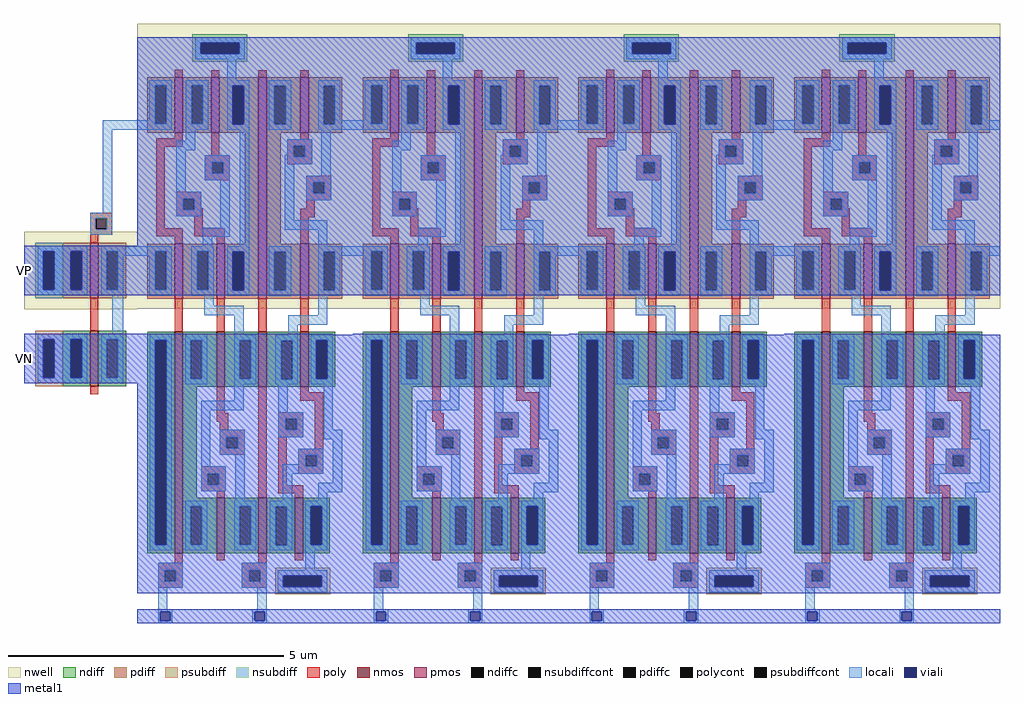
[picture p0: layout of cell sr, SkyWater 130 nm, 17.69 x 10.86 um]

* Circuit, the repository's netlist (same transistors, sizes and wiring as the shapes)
* SPICE3 file created from sr.ext - technology: sky130A

.subckt latch VP D Dbar VN CLK Q Qbar
X0 a_244_982# CLK VP VP sky130_fd_pr__pfet_01v8 ad=0.574 pd=3.32 as=0.608 ps=3.38 w=4.01 l=0.15
X1 a_n84_1280# a_n60_982# a_n60_60# VN sky130_fd_pr__nfet_01v8 ad=0.305 pd=1.61 as=0.574 ps=3.32 w=1 l=0.15
X2 a_n60_982# a_n84_1280# a_n60_60# VN sky130_fd_pr__nfet_01v8 ad=0.305 pd=1.61 as=0.574 ps=3.32 w=1 l=0.15
X3 Q CLK a_n84_1280# VN sky130_fd_pr__nfet_01v8 ad=0.255 pd=1.51 as=0.305 ps=1.61 w=1 l=0.15
X4 VP a_n84_1280# a_n60_982# VP sky130_fd_pr__pfet_01v8 ad=0.608 pd=3.38 as=0.305 ps=1.61 w=1 l=0.15
X5 VN Q Qbar VN sky130_fd_pr__nfet_01v8 ad=0.48 pd=2.96 as=0.305 ps=1.61 w=1 l=0.15
X6 VN Qbar Q VN sky130_fd_pr__nfet_01v8 ad=0.48 pd=2.96 as=0.255 ps=1.51 w=1 l=0.15
X7 a_n60_982# CLK Dbar VP sky130_fd_pr__pfet_01v8 ad=0.305 pd=1.61 as=0.5 ps=3 w=1 l=0.15
X8 a_n60_60# CLK VN VN sky130_fd_pr__nfet_01v8 ad=0.574 pd=3.32 as=2.01 ps=9.02 w=4.01 l=0.15
X9 VP a_n60_982# a_n84_1280# VP sky130_fd_pr__pfet_01v8 ad=0.608 pd=3.38 as=0.255 ps=1.51 w=1 l=0.15
X10 Q Qbar a_244_982# VP sky130_fd_pr__pfet_01v8 ad=0.61 pd=3.22 as=0.574 ps=3.32 w=1 l=0.15
X11 Qbar CLK a_n60_982# VN sky130_fd_pr__nfet_01v8 ad=0.305 pd=1.61 as=0.305 ps=1.61 w=1 l=0.15
X12 Qbar Q a_244_982# VP sky130_fd_pr__pfet_01v8 ad=0.61 pd=3.22 as=0.574 ps=3.32 w=1 l=0.15
X13 a_n84_1280# CLK D VP sky130_fd_pr__pfet_01v8 ad=0.255 pd=1.51 as=0.5 ps=3 w=1 l=0.15
.ends

Xlatch_0 VP latch_0/D latch_0/Dbar VN latch_3/CLK latch_1/D latch_1/Dbar latch
Xlatch_1 VP latch_1/D latch_1/Dbar VN latch_3/CLK latch_2/D latch_2/Dbar latch
Xlatch_2 VP latch_2/D latch_2/Dbar VN latch_3/CLK latch_3/D latch_3/Dbar latch
Xlatch_3 VP latch_3/D latch_3/Dbar VN latch_3/CLK latch_3/Q latch_3/Qbar latch
X0 latch_0/Dbar latch_0/D VP VP sky130_fd_pr__pfet_01v8 ad=0.5 pd=3 as=0.5 ps=3 w=1 l=0.15
X1 latch_0/Dbar latch_0/D VN VN sky130_fd_pr__nfet_01v8 ad=0.5 pd=3 as=0.5 ps=3 w=1 l=0.15

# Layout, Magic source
magic
tech sky130A
magscale 1 2
<< nwell >>
rect -414 1142 -4 1422
<< nmos >>
rect -174 863 -144 1063
<< pmos >>
rect -174 1182 -144 1382
<< ndiff >>
rect -274 1033 -174 1063
rect -274 893 -244 1033
rect -204 893 -174 1033
rect -274 863 -174 893
rect -144 1033 -44 1063
rect -144 893 -114 1033
rect -74 893 -44 1033
rect -144 863 -44 893
<< pdiff >>
rect -274 1352 -174 1382
rect -274 1212 -244 1352
rect -204 1212 -174 1352
rect -274 1182 -174 1212
rect -144 1352 -44 1382
rect -144 1212 -114 1352
rect -74 1212 -44 1352
rect -144 1182 -44 1212
<< ndiffc >>
rect -244 893 -204 1033
rect -114 893 -74 1033
<< pdiffc >>
rect -244 1212 -204 1352
rect -114 1212 -74 1352
<< psubdiff >>
rect -374 1033 -274 1063
rect -374 893 -344 1033
rect -304 893 -274 1033
rect -374 863 -274 893
<< nsubdiff >>
rect -374 1352 -274 1382
rect -374 1212 -344 1352
rect -304 1212 -274 1352
rect -374 1182 -274 1212
<< psubdiffcont >>
rect -344 893 -304 1033
<< nsubdiffcont >>
rect -344 1212 -304 1352
<< poly >>
rect -174 1472 -94 1492
rect -174 1432 -154 1472
rect -114 1432 -94 1472
rect -174 1412 -94 1432
rect -174 1382 -144 1412
rect -174 1063 -144 1182
rect -174 833 -144 863
<< polycont >>
rect -154 1432 -114 1472
<< locali >>
rect -128 1792 -4 1826
rect -128 1492 -94 1792
rect -174 1472 -94 1492
rect -174 1432 -154 1472
rect -114 1432 -94 1472
rect -174 1412 -94 1432
rect -364 1352 -184 1372
rect -364 1212 -344 1352
rect -304 1212 -244 1352
rect -204 1212 -184 1352
rect -364 1192 -184 1212
rect -134 1370 -54 1372
rect -134 1352 -2 1370
rect -134 1212 -114 1352
rect -74 1336 -2 1352
rect -74 1212 -54 1336
rect -134 1192 -54 1212
rect -94 1053 -54 1192
rect -364 1033 -184 1053
rect -364 893 -344 1033
rect -304 893 -244 1033
rect -204 893 -184 1033
rect -364 873 -184 893
rect -134 1033 -54 1053
rect -134 893 -114 1033
rect -74 893 -54 1033
rect -134 873 -54 893
<< viali >>
rect -344 1212 -304 1352
rect -244 1212 -204 1352
rect -344 893 -304 1033
rect -244 893 -204 1033
<< metal1 >>
rect -414 1352 -4 1372
rect -414 1212 -344 1352
rect -304 1212 -244 1352
rect -204 1212 -4 1352
rect -414 1192 -4 1212
rect -414 1033 -4 1053
rect -414 893 -344 1033
rect -304 893 -244 1033
rect -204 893 -4 1033
rect -414 873 -4 893
use latch  latch_0
transform 1 0 222 0 1 198
box -226 -194 556 1978
use latch  latch_1
transform 1 0 1004 0 1 198
box -226 -194 556 1978
use latch  latch_2
transform 1 0 1786 0 1 198
box -226 -194 556 1978
use latch  latch_3
transform 1 0 2568 0 1 198
box -226 -194 556 1978
<< labels >>
rlabel metal1 -414 1282 -414 1282 7 VP
port 3 w
rlabel metal1 -414 963 -414 963 7 VN
port 4 w
<< end >>

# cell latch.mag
magic
tech sky130A
magscale 1 2
<< nwell >>
rect -226 946 556 1978
<< nmos >>
rect -90 60 -60 862
rect 62 662 92 862
rect 214 662 244 862
rect 366 662 396 862
rect 62 60 92 260
rect 214 60 244 260
rect 346 60 376 260
<< pmos >>
rect -90 1584 -60 1784
rect 42 1584 72 1784
rect -90 982 -60 1182
rect 62 982 92 1182
rect 214 982 244 1784
rect 366 1584 396 1784
rect 366 982 396 1182
<< ndiff >>
rect -190 832 -90 862
rect -190 90 -160 832
rect -120 90 -90 832
rect -190 60 -90 90
rect -60 832 62 862
rect -60 692 -32 832
rect 8 692 62 832
rect -60 662 62 692
rect 92 832 214 862
rect 92 692 146 832
rect 186 692 214 832
rect 92 662 214 692
rect 244 830 366 862
rect 244 690 296 830
rect 336 690 366 830
rect 244 662 366 690
rect 396 832 492 862
rect 396 692 424 832
rect 464 692 492 832
rect 396 662 492 692
rect -60 260 -10 662
rect -60 230 62 260
rect -60 90 -32 230
rect 8 90 62 230
rect -60 60 62 90
rect 92 230 214 260
rect 92 90 146 230
rect 186 90 214 230
rect 92 60 214 90
rect 244 228 346 260
rect 244 88 276 228
rect 316 88 346 228
rect 244 60 346 88
rect 376 230 472 260
rect 376 90 404 230
rect 444 90 472 230
rect 376 60 472 90
<< pdiff >>
rect -190 1756 -90 1784
rect -190 1616 -160 1756
rect -120 1616 -90 1756
rect -190 1584 -90 1616
rect -60 1756 42 1784
rect -60 1616 -28 1756
rect 12 1616 42 1756
rect -60 1584 42 1616
rect 72 1754 214 1784
rect 72 1614 120 1754
rect 160 1614 214 1754
rect 72 1584 214 1614
rect 164 1182 214 1584
rect -190 1154 -90 1182
rect -190 1014 -160 1154
rect -120 1014 -90 1154
rect -190 982 -90 1014
rect -60 1154 62 1182
rect -60 1014 -8 1154
rect 32 1014 62 1154
rect -60 982 62 1014
rect 92 1152 214 1182
rect 92 1012 120 1152
rect 160 1012 214 1152
rect 92 982 214 1012
rect 244 1754 366 1784
rect 244 1614 272 1754
rect 312 1614 366 1754
rect 244 1584 366 1614
rect 396 1754 518 1784
rect 396 1614 450 1754
rect 490 1614 518 1754
rect 396 1584 518 1614
rect 244 1182 294 1584
rect 244 1152 366 1182
rect 244 1012 272 1152
rect 312 1012 366 1152
rect 244 982 366 1012
rect 396 1152 518 1182
rect 396 1012 450 1152
rect 490 1012 518 1152
rect 396 982 518 1012
<< ndiffc >>
rect -160 90 -120 832
rect -32 692 8 832
rect 146 692 186 832
rect 296 690 336 830
rect 424 692 464 832
rect -32 90 8 230
rect 146 90 186 230
rect 276 88 316 228
rect 404 90 444 230
<< pdiffc >>
rect -160 1616 -120 1756
rect -28 1616 12 1756
rect 120 1614 160 1754
rect -160 1014 -120 1154
rect -8 1014 32 1154
rect 120 1012 160 1152
rect 272 1614 312 1754
rect 450 1614 490 1754
rect 272 1012 312 1152
rect 450 1012 490 1152
<< psubdiff >>
rect 274 -22 474 6
rect 274 -62 304 -22
rect 444 -62 474 -22
rect 274 -90 474 -62
<< nsubdiff >>
rect -26 1910 174 1940
rect -26 1870 4 1910
rect 144 1870 174 1910
rect -26 1840 174 1870
<< psubdiffcont >>
rect 304 -62 444 -22
<< nsubdiffcont >>
rect 4 1870 144 1910
<< poly >>
rect -90 1784 -60 1812
rect 42 1784 72 1810
rect 214 1784 244 1810
rect 366 1784 396 1810
rect -90 1564 -60 1584
rect -156 1532 -60 1564
rect -156 1238 -126 1532
rect 42 1502 72 1584
rect 20 1476 110 1502
rect 20 1436 46 1476
rect 86 1436 110 1476
rect 20 1412 110 1436
rect -84 1344 6 1370
rect -84 1304 -58 1344
rect -18 1310 6 1344
rect -18 1304 12 1310
rect -84 1280 12 1304
rect -18 1238 12 1280
rect -156 1208 -60 1238
rect -18 1208 92 1238
rect -90 1182 -60 1208
rect 62 1182 92 1208
rect 366 1560 396 1584
rect 318 1536 408 1560
rect 318 1496 342 1536
rect 382 1496 408 1536
rect 318 1470 408 1496
rect 388 1404 478 1428
rect 388 1364 412 1404
rect 452 1364 478 1404
rect 388 1338 478 1364
rect 388 1308 418 1338
rect 366 1278 418 1308
rect 366 1182 396 1278
rect -90 862 -60 982
rect 62 862 92 982
rect 214 862 244 982
rect 366 862 396 982
rect 62 566 92 662
rect 62 536 104 566
rect 74 506 104 536
rect 74 480 164 506
rect 74 440 98 480
rect 138 440 164 480
rect 74 416 164 440
rect 6 348 96 374
rect 6 308 30 348
rect 70 308 96 348
rect 6 284 96 308
rect 62 260 92 284
rect 214 260 244 662
rect 366 642 396 662
rect 366 612 448 642
rect 286 546 376 570
rect 286 506 312 546
rect 352 506 376 546
rect 286 480 376 506
rect 286 306 316 480
rect 418 438 448 612
rect 359 414 449 438
rect 359 374 385 414
rect 425 374 449 414
rect 359 348 449 374
rect 286 276 376 306
rect 346 260 376 276
rect -90 24 -60 60
rect 62 34 92 60
rect 214 24 244 60
rect 346 34 376 60
rect -150 -2 -60 24
rect -150 -42 -126 -2
rect -86 -42 -60 -2
rect -150 -66 -60 -42
rect 154 -2 244 24
rect 154 -42 180 -2
rect 220 -42 244 -2
rect 154 -66 244 -42
<< polycont >>
rect 46 1436 86 1476
rect -58 1304 -18 1344
rect 342 1496 382 1536
rect 412 1364 452 1404
rect 98 440 138 480
rect 30 308 70 348
rect 312 506 352 546
rect 385 374 425 414
rect -126 -42 -86 -2
rect 180 -42 220 -2
<< locali >>
rect -16 1910 164 1930
rect -16 1870 4 1910
rect 144 1870 164 1910
rect -16 1850 164 1870
rect 100 1774 134 1850
rect -182 1756 -100 1774
rect -182 1628 -160 1756
rect -226 1616 -160 1628
rect -120 1616 -100 1756
rect -226 1594 -100 1616
rect -50 1756 32 1774
rect -50 1616 -28 1756
rect 12 1616 32 1756
rect -50 1594 32 1616
rect 100 1754 180 1774
rect 100 1614 120 1754
rect 160 1614 180 1754
rect 100 1594 180 1614
rect 252 1754 332 1774
rect 252 1614 272 1754
rect 312 1614 332 1754
rect 252 1594 332 1614
rect 430 1754 510 1774
rect 430 1614 450 1754
rect 490 1628 510 1754
rect 490 1614 556 1628
rect 430 1594 556 1614
rect -50 1554 -16 1594
rect -84 1520 -16 1554
rect -84 1370 -50 1520
rect 20 1476 110 1502
rect 20 1436 46 1476
rect 86 1436 110 1476
rect 20 1412 110 1436
rect -84 1344 6 1370
rect -84 1304 -58 1344
rect -18 1304 6 1344
rect -84 1280 6 1304
rect 76 1240 110 1412
rect 12 1206 110 1240
rect 12 1172 46 1206
rect 146 1172 180 1594
rect 318 1536 408 1560
rect 318 1504 342 1536
rect 310 1496 342 1504
rect 382 1496 408 1536
rect 310 1470 408 1496
rect 310 1266 344 1470
rect 442 1428 476 1594
rect 388 1404 478 1428
rect 388 1364 412 1404
rect 452 1364 478 1404
rect 388 1338 478 1364
rect 310 1232 464 1266
rect 430 1172 464 1232
rect -226 1154 -100 1172
rect -226 1138 -160 1154
rect -182 1014 -160 1138
rect -120 1014 -100 1154
rect -182 992 -100 1014
rect -30 1154 52 1172
rect -30 1014 -8 1154
rect 32 1014 52 1154
rect -30 992 52 1014
rect 100 1152 180 1172
rect 100 1012 120 1152
rect 160 1012 180 1152
rect 100 992 180 1012
rect 252 1152 332 1172
rect 252 1012 272 1152
rect 312 1012 332 1152
rect 18 956 52 992
rect 252 990 332 1012
rect 430 1152 556 1172
rect 430 1012 450 1152
rect 490 1138 556 1152
rect 490 1012 510 1138
rect 430 992 510 1012
rect 18 922 160 956
rect 430 922 464 992
rect -180 832 -100 854
rect -180 90 -160 832
rect -120 90 -100 832
rect -52 832 28 854
rect -52 692 -32 832
rect 8 692 28 832
rect -52 672 28 692
rect 126 852 160 922
rect 322 888 464 922
rect 322 852 356 888
rect 126 832 206 852
rect 126 692 146 832
rect 186 692 206 832
rect 126 672 206 692
rect 274 830 356 852
rect 274 690 296 830
rect 336 690 356 830
rect 274 672 356 690
rect 404 832 484 852
rect 404 692 424 832
rect 464 692 484 832
rect 404 672 484 692
rect 126 612 160 672
rect 6 578 160 612
rect 6 374 40 578
rect 286 570 320 672
rect 286 546 376 570
rect 286 506 312 546
rect 352 506 376 546
rect 74 480 164 506
rect 286 480 376 506
rect 450 506 484 672
rect 74 440 98 480
rect 138 440 164 480
rect 450 472 518 506
rect 74 416 164 440
rect 6 348 96 374
rect 6 308 30 348
rect 70 308 96 348
rect 6 284 96 308
rect 130 250 164 416
rect 359 414 449 438
rect 359 382 385 414
rect 302 374 385 382
rect 425 374 449 414
rect 302 348 449 374
rect 302 250 336 348
rect 484 314 518 472
rect 430 280 518 314
rect 430 250 464 280
rect -180 70 -100 90
rect -52 230 28 250
rect -52 90 -32 230
rect 8 90 28 230
rect -52 70 28 90
rect 126 230 206 250
rect 126 90 146 230
rect 186 90 206 230
rect 126 70 206 90
rect 254 228 336 250
rect 254 88 276 228
rect 316 88 336 228
rect 254 70 336 88
rect 384 230 464 250
rect 384 90 404 230
rect 444 90 464 230
rect 384 70 464 90
rect -150 -2 -60 24
rect -150 -42 -126 -2
rect -86 -42 -60 -2
rect -150 -66 -60 -42
rect 154 -2 244 24
rect 384 -2 418 70
rect 154 -42 180 -2
rect 220 -42 244 -2
rect 154 -66 244 -42
rect -150 -144 -116 -66
rect 210 -144 244 -66
rect 284 -22 464 -2
rect 284 -62 304 -22
rect 444 -62 464 -22
rect 284 -82 464 -62
rect -150 -152 -98 -144
rect -150 -186 -142 -152
rect -106 -186 -98 -152
rect -150 -194 -98 -186
rect 192 -152 244 -144
rect 192 -186 200 -152
rect 236 -186 244 -152
rect 192 -194 244 -186
<< viali >>
rect 4 1870 144 1910
rect 120 1614 160 1754
rect 120 1012 160 1152
rect -160 90 -120 832
rect 424 692 464 832
rect 404 90 444 230
rect 304 -62 444 -22
rect -142 -186 -106 -152
rect 200 -186 236 -152
<< metal1 >>
rect -226 1910 556 1930
rect -226 1870 4 1910
rect 144 1870 556 1910
rect -226 1754 556 1870
rect -226 1614 120 1754
rect 160 1614 556 1754
rect -226 1152 556 1614
rect -226 1012 120 1152
rect 160 1012 556 1152
rect -226 994 556 1012
rect -226 852 484 854
rect -226 832 556 852
rect -226 90 -160 832
rect -120 692 424 832
rect 464 692 556 832
rect -120 230 556 692
rect -120 90 404 230
rect 444 90 556 230
rect -226 -22 556 90
rect -226 -62 304 -22
rect 444 -62 556 -22
rect -226 -86 556 -62
rect -226 -152 556 -144
rect -226 -186 -142 -152
rect -106 -186 200 -152
rect 236 -186 556 -152
rect -226 -194 556 -186
<< labels >>
rlabel metal1 -226 1850 -226 1850 7 VP
port 1 w
rlabel metal1 -226 -170 -226 -170 7 CLK
port 5 w
rlabel metal1 -226 402 -226 402 7 VN
port 4 w
rlabel locali -226 1610 -226 1610 7 D
port 2 w
rlabel locali -226 1154 -226 1154 7 Dbar
port 3 w
rlabel locali 556 1612 556 1612 3 Q
port 6 e
rlabel locali 556 1156 556 1156 3 Qbar
port 7 e
<< end >>
